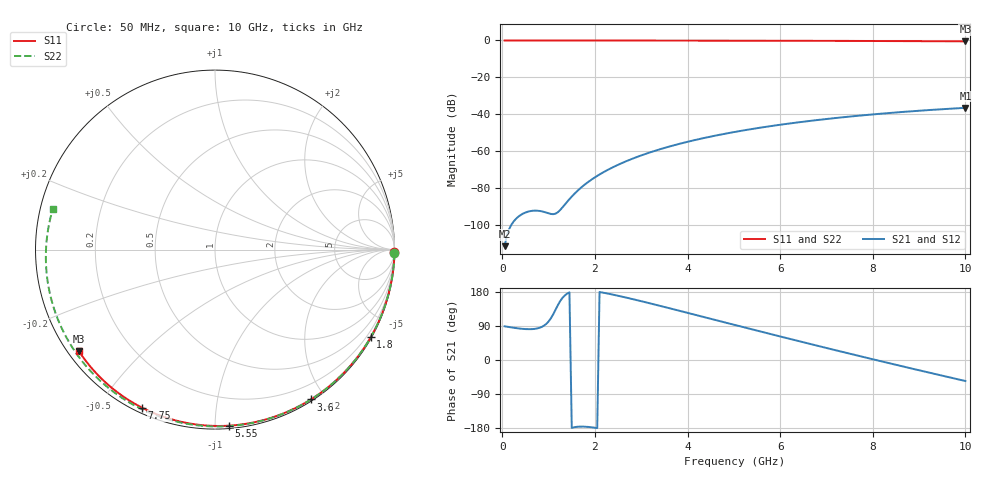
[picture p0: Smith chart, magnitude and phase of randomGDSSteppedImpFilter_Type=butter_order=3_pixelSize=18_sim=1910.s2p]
! freq	dB(S11)	phase(S11)	dB(S12)	phase(S12)
!  dB(S21)	phase(S21)	dB(S22)	phase(S22)
!S-par simulation data
#  GHz  S  DB  R 50
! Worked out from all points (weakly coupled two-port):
!   200 points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, 50 MHz to 10 GHz, reference 50 ohm
!   highest |S21| = -36.60 dB at 10 GHz (marker M1); lowest = -111.7 dB at 50 MHz (marker M2)
!   lowest |S11| = -0.5 dB at 10 GHz (marker M3), VSWR 35.99, Z = 1.54 - j16.6 ohm
!   |S11| at or under -10 dB: nowhere
!   |S22| runs from -0.6 to 0.0 dB; largest |S21 - S12| = 0
!   S11 on the Smith chart (normalised r, x): 50 MHz: open; 1.8 GHz: 0.03, -3.81; 3.6 GHz: 0.02, -1.83; 5.55 GHz: 0.02, -1.08; 7.75 GHz: 0.02, -0.64; 10 GHz: 0.03, -0.33
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0.05  -0.00 -0.8  -111.71 88.9  -111.71 88.9  -0.00 -1.1
0.8  -0.02 -13.2  -92.56 84.8  -92.56 84.8  -0.02 -17.5
1.2  -0.02 -19.7  -93.27 144.7  -93.27 144.7  -0.03 -26.2
1.65  -0.03 -27.0  -81.04 -175.9  -81.04 -175.9  -0.05 -35.8
1.7  -0.04 -27.8  -79.93 -175.7  -79.93 -175.7  -0.05 -36.8
1.75  -0.04 -28.6  -78.88 -175.8  -78.88 -175.8  -0.05 -37.9
1.8  -0.04 -29.4  -77.89 -176.1  -77.89 -176.1  -0.05 -38.9
2.1  -0.04 -34.2  -72.78 179.3  -72.78 179.3  -0.06 -45.2
2.5  -0.05 -40.5  -67.52 169.6  -67.52 169.6  -0.07 -53.4
2.9  -0.06 -46.7  -63.35 158.2  -63.35 158.2  -0.08 -61.5
3.4  -0.07 -54.4  -59.12 143.1  -59.12 143.1  -0.09 -71.5
3.6  -0.08 -57.4  -57.66 136.9  -57.66 136.9  -0.10 -75.4
4.3  -0.10 -67.8  -53.28 115.0  -53.28 115.0  -0.13 -88.8
5.05  -0.12 -78.5  -49.54 91.6  -49.54 91.6  -0.16 -102.7
5.55  -0.14 -85.5  -47.44 76.0  -47.44 76.0  -0.18 -111.7
6.1  -0.16 -93.0  -45.43 59.0  -45.43 59.0  -0.22 -121.6
6.7  -0.20 -101.1  -43.51 40.7  -43.51 40.7  -0.26 -132.2
7.25  -0.23 -108.3  -41.97 24.2  -41.97 24.2  -0.30 -142.0
7.75  -0.26 -114.7  -40.73 9.3  -40.73 9.3  -0.35 -150.9
8.35  -0.31 -122.4  -39.40 -8.3  -39.40 -8.3  -0.41 -161.8
9.2  -0.39 -133.2  -37.82 -32.8  -37.82 -32.8  -0.51 -177.9
10  -0.48 -143.3  -36.60 -55.4  -36.60 -55.4  -0.62 166.0
